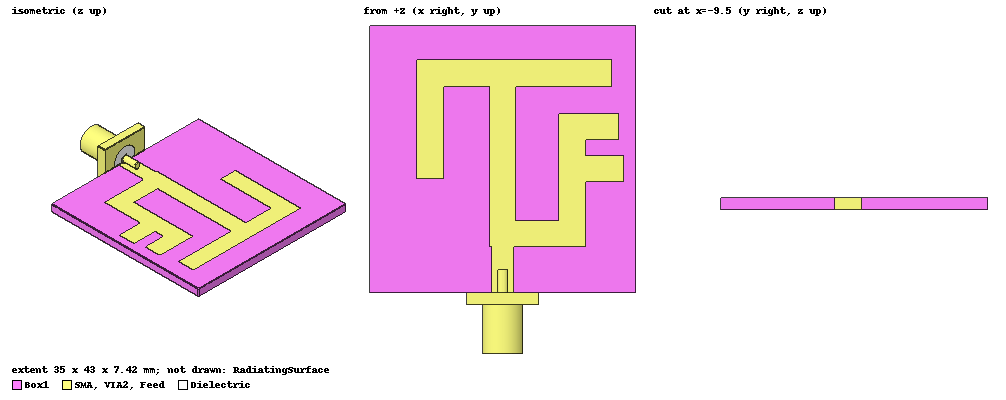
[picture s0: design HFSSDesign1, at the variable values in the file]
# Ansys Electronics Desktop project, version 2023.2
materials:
  vacuum: permittivity=1
  FR4_epoxy: permittivity=4.4 dielectric_loss_tangent=0.02
  Teflon (tm): permittivity=2.1 dielectric_loss_tangent=0.001
  brass: conductivity=15000000
  copper: permeability=0.999991 conductivity=58000000

design HFSSDesign1 (HFSS, HFSS Modal Network, model units mm)
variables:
  SubWidth = 35mm
  StubLen = 5.8mm
  StubWidth = 15mm
  GndLen = 20mm
  SubLen = 35mm
  SubHi = 1.6mm
  PIFA1_FL = 4.37mm
  PIFA1_LEN = 14mm
  PIFA2_FL = 21mm
  PIFA1_SEP = 2mm
  FeedWidth = 3mm
  FeedLen = 6mm
  PIFA1_OFF = 5.6mm
  PIFA1_SL = 5mm
  XX = 0mm
  PIFA2_Width = 3.5mm
  PIFA1_width = 3.5mm
  PIFA2_SEP = 6mm
  PIFA2_RAD = 16mm
  PIFA2_SL = 12mm
  ViaR1 = 0.5*PIFA1_width
  ViaR2 = 0.5*PIFA2_Width
  h = 1.6mm
  Inner_length = 3mm
  SRRpos = 3mm
  SRRslot = 0.5mm
  SRRThick = 0.5mm
  SRRinnerRad = 0.5mm
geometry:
  Box1 [FR4_epoxy] = box(corner=(-0.5*SubWidth, 0mm, 0mm), size=(SubWidth, SubLen, SubHi))
  Feed = rectangle(corner=(-0.5*FeedWidth, 0mm, SubHi), x_size=FeedWidth, y_size=FeedLen)
  IF1_F = rectangle(corner=(0.5*PIFA2_Width-XX+PIFA1_OFF+PIFA1_width, FeedLen+PIFA1_LEN, SubHi), x_size=PIFA1_FL, y_size=PIFA1_width)
  IFOFF1 = rectangle(corner=(0.5*PIFA2_width, FeedLen, SubHi), x_size=PIFA1_OFF+PIFA1_width, y_size=PIFA1_width)
  IFSL1 = rectangle(corner=(0.5*PIFA2_Width-XX+PIFA1_OFF+PIFA1_width, FeedLen+PIFA1_LEN-PIFA1_SEP-PIFA1_width, SubHi), x_size=PIFA1_SL, y_size=PIFA1_width)
  INFRad1 = rectangle(corner=(0.5*PIFA2_Width-XX+PIFA1_OFF, FeedLen+PIFA1_width, SubHi), x_size=PIFA1_width, y_size=PIFA1_LEN)
  IF1_F.unite(IFOFF1, IFSL1, INFRad1)
  IF2_Feed = rectangle(corner=(-0.5*PIFA2_Width, FeedLen, SubHi), x_size=PIFA2_Width, y_size=PIFA2_FL)
  IF2_Mat = rectangle(corner=(-0.5*PIFA2_Width-PIFA2_Width-PIFA2_SEP, FeedLen+PIFA2_FL, SubHi), x_size=PIFA2_SEP+PIFA2_Width, y_size=PIFA2_Width)
  IF2_Rad = rectangle(corner=(-0.5*PIFA2_Width, FeedLen+PIFA2_FL, SubHi), x_size=PIFA2_RAD, y_size=PIFA2_Width)
  IF2_Sho = rectangle(corner=(-0.5*PIFA2_Width-PIFA2_SEP-PIFA2_Width, FeedLen+PIFA2_FL-PIFA2_SL, SubHi), x_size=PIFA2_Width, y_size=PIFA2_SL)
  IF2_Feed.unite(IF2_Mat, IF2_Rad, IF2_Sho)
  Feed.unite(IF1_F, IF2_Feed)
  VIA1 [copper] = cylinder(axis=Z, base_centre=(0.5*FeedWidth-XX+PIFA1_OFF+PIFA1_width+PIFA1_SL-ViaR1, FeedLen+PIFA1_LEN-PIFA1_width-PIFA1_SEP+ViaR1, 0), radius=1.4142136mm, height=SubHi)
  VIA2 [copper] = cylinder(axis=Z, base_centre=(-PIFA2_Width-PIFA2_SEP, FeedLen+PIFA2_FL-PIFA2_SL+0.5*PIFA2_Width, 0mm), radius=ViaR2, height=SubHi)
  Dielectric [Teflon (tm)] = cylinder(axis=Y, base_centre=(0mm, 0mm, h+0.63mm), radius=2.43mm, height=-6mm)
  Dielectric_1 = Dielectric.copy()
  Inner = cylinder(axis=Y, base_centre=(0, Inner_length, h+0.63mm), radius=0.63mm, height=-6mm-Inner_length)
  Inner_1 = Inner.copy()
  Dielectric.subtract(Inner_1)
  Dielectric_2 = Dielectric.copy()
  SMA [brass] = box(corner=(-4.76mm, 0mm, -1.08mm), size=(9.52mm, -1.64mm, 7.42mm))
  Inner_2 = Inner.copy()
  SMA.subtract(Dielectric_2, Inner_2)
  Box3 = box(corner=(4.76mm, 0mm, -1.08mm), size=(-1.02mm, 5mm, 1.08mm))
  Box2 = box(corner=(-4.76mm, 0mm, -1.08mm), size=(1.02mm, 5mm, 1.08mm))
  SMA.unite(Box3, Box2)
  Outer = cylinder(axis=Y, base_centre=(0mm, 0mm, h+0.63mm), radius=2.61mm, height=-8mm)
  Outer.subtract(Dielectric_1)
  Outer1 = cylinder(axis=Y, base_centre=(0mm, 0mm, h+0.63mm), radius=2.43mm, height=-8mm)
  Dielectric1 = cylinder(axis=Y, base_centre=(0mm, 0mm, h+0.63mm), radius=2.43mm, height=-6mm)
  Dielectric_3 = Dielectric1.copy()
  Outer1.subtract(Dielectric_3)
  Outer.subtract(Outer1)
  SMA.unite(Outer, Inner)
  Dielectric1.delete()
  RadiatingSurface [vacuum] = region(absolute_offset=21.276596mm on all sides)
  SRRouter2 = circle(normal=Z, centre=(0mm, GndLen+SRRpos, 0mm), radius=SRRslot+SRRThick+SRRinnerRad+SRRThick)
  SRRinner2 = circle(normal=Z, centre=(0mm, GndLen+SRRpos, 0mm), radius=SRRslot+SRRThick+SRRinnerRad)
  SRRouter2.subtract(SRRinner2)
  SRRouter = circle(normal=Z, centre=(0mm, GndLen+SRRpos, 0mm), radius=SRRinnerRad+SRRThick)
  SRRinner = circle(normal=Z, centre=(0mm, GndLen+SRRpos, 0mm), radius=SRRinnerRad)
  SRRouter.subtract(SRRinner)
  SRRouter2.unite(SRRouter)
  Gnd = rectangle(corner=(-0.5*SubWidth, 0mm, 0mm), x_size=SubWidth, y_size=GndLen)
  SRRouter2.unite(Gnd)
  SRRouter3 = circle(normal=Z, centre=(0mm, GndLen+SRRpos, 0mm), radius=2*SRRslot+SRRThick+SRRinnerRad+2*SRRThick)
  SRRinner3 = circle(normal=Z, centre=(0mm, GndLen+SRRpos, 0mm), radius=2*SRRslot+SRRThick+SRRinnerRad+SRRThick)
  SRRouter3.subtract(SRRinner3)
  Rectangle2 = rectangle(corner=(-0.5*SubWidth, GndLen, 0mm), x_size=StubWidth, y_size=StubLen)
  SRRouter2.unite(SRRouter3, Rectangle2)
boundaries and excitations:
  FiniteCond2: Finite Conductivity Objects=Feed Conductivity=58000000 Permeability=1 IsInternal
  SMA: Finite Conductivity Objects=SMA Conductivity=15000000 Permeability=1 IsInternal
  Open1: Radiation Objects=RadiatingSurface
  FiniteCond3: Finite Conductivity Objects=SRRouter2 Conductivity=58000000 Permeability=1 IsInternal
  1: Lumped Port Faces=Dielectric.face(-y end) LumpedPortType=Modal Modes{Mode1{IntLine{(0, -6, -0.2) -> (0, -6, 1.6)} CharImp=Zpi RenormImp=50ohm}} Impedance=50ohm
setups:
  Setup1: HfssDriven Frequency=4.7GHz MaxDeltaS=0.02 MaximumPasses=10 MinimumPasses=1 MinimumConvergedPasses=1 PercentRefinement=30 BasisOrder=1 PortAccuracy=2 DrivenSolverType="Direct Solver"
    sweep Sweep: 2GHz to 8GHz, 201 points; Type=Interpolating SaveFields InterpTolerance=0.5 InterpMaxSolns=250 InterpUsePortImped=false PassivityErrorTolerance=0.0001
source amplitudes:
  1:1: 1W 0deg
